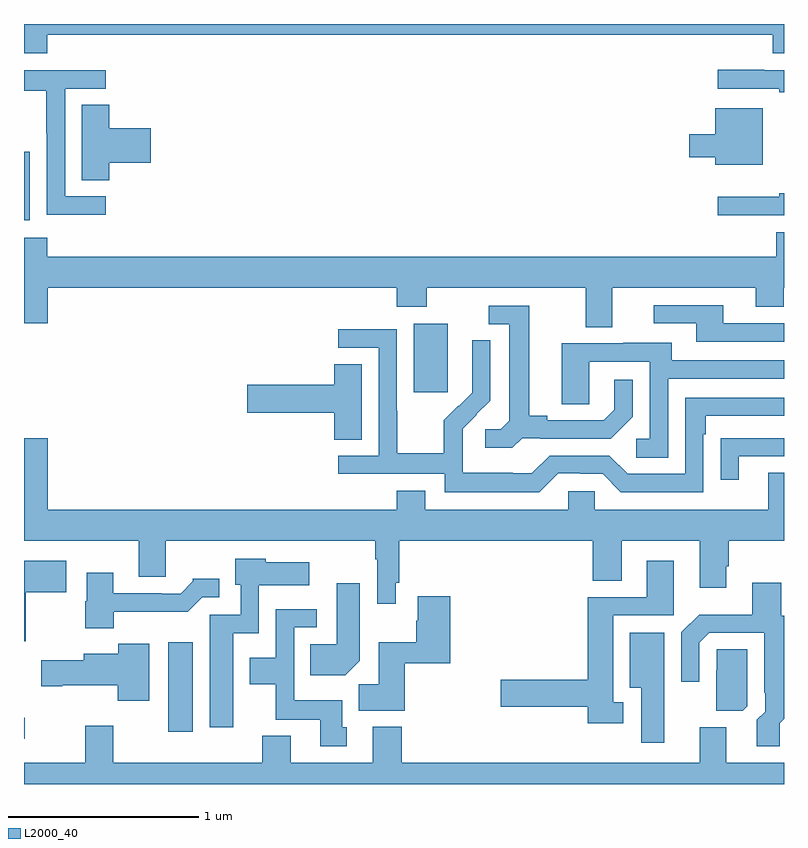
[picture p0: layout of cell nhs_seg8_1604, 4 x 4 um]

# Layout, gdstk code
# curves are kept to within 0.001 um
import gdstk
lib = gdstk.Library(unit=1e-6, precision=1e-09)
def R(c, l, rs):  # rectangles x0, y0, x1, y1
    for r in rs: c.add(gdstk.rectangle(r[:2], r[2:], *l))
def P(c, l, *ps):  # polygons
    for p in ps: c.add(gdstk.Polygon(p, *l))
L2000_40 = (2000, 40)

nhs_seg8_1604 = lib.new_cell('nhs_seg8_1604')
R(nhs_seg8_1604, L2000_40, [(213,1102.137,213.005,1102.249), (213.758,1102.176,213.889,1102.645), (215.051,1103.961,215.23,1104.322), (213,1104.866,213.031,1105.227)])
P(nhs_seg8_1604, L2000_40, [(213.122,1105.844),(216.941,1105.844),(216.941,1105.746),(217,1105.746),(217,1105.9),(213,1105.9),(213,1105.745),(213.122,1105.745)],
  [(217,1105.656),(216.897,1105.656),(216.897,1105.658),(216.651,1105.658),(216.651,1105.56),(216.974,1105.56),(216.974,1105.54),(217,1105.54)],
  [(213.43,1104.993),(213.216,1104.993),(213.216,1105.56),(213.43,1105.56),(213.43,1105.656),(213,1105.656),(213,1105.548),(213.118,1105.548),(213.118,1105.324),(213.12,1105.324),(213.12,1104.895),(213.43,1104.895)],
  [(213.449,1105.169),(213.667,1105.169),(213.667,1105.352),(213.449,1105.352),(213.449,1105.475),(213.305,1105.475),(213.305,1105.078),(213.449,1105.078)],
  [(216.889,1105.456),(216.638,1105.456),(216.638,1105.321),(216.501,1105.321),(216.501,1105.199),(216.638,1105.199),(216.638,1105.16),(216.889,1105.16)],
  [(216.863,1104.894),(217,1104.894),(217,1105.01),(216.974,1105.01),(216.974,1104.991),(216.651,1104.991),(216.651,1104.893),(216.863,1104.893)],
  [(216.097,1104.512),(216.851,1104.512),(216.851,1104.413),(216.999,1104.413),(216.999,1104.512),(217,1104.512),(217,1104.805),(216.959,1104.805),(216.959,1104.676),(213.122,1104.676),(213.122,1104.775),(213,1104.775),(213,1104.324),(213.124,1104.324),(213.124,1104.512),(214.961,1104.512),(214.961,1104.413),(215.121,1104.413),(215.121,1104.512),(215.957,1104.512),(215.957,1104.304),(216.097,1104.304)],
  [(217,1104.324),(216.679,1104.324),(216.679,1104.42),(216.315,1104.42),(216.315,1104.324),(216.539,1104.324),(216.539,1104.228),(217,1104.228)],
  [(215.622,1103.721),(215.716,1103.721),(215.716,1103.718),(216.088,1103.718),(216.204,1103.834),(216.204,1104.028),(216.107,1104.028),(216.107,1103.871),(216.05,1103.814),(215.755,1103.814),(215.755,1103.837),(215.659,1103.837),(215.659,1104.417),(215.445,1104.417),(215.445,1104.321),(215.555,1104.321),(215.555,1103.813),(215.508,1103.766),(215.427,1103.766),(215.427,1103.669),(215.57,1103.669)],
  [(215.811,1103.535),(215.927,1103.535),(215.927,1103.532),(216.045,1103.532),(216.141,1103.436),(216.576,1103.436),(216.576,1103.741),(216.589,1103.741),(216.589,1103.838),(217,1103.838),(217,1103.934),(216.48,1103.934),(216.48,1103.532),(216.177,1103.532),(216.081,1103.628),(215.766,1103.628),(215.673,1103.535),(215.573,1103.535),(215.573,1103.539),(215.31,1103.539),(215.31,1103.673),(215.308,1103.673),(215.308,1103.77),(215.454,1103.918),(215.454,1104.236),(215.358,1104.236),(215.358,1104.082),(215.36,1104.082),(215.36,1103.96),(215.289,1103.889),(215.286,1103.892),(215.209,1103.815),(215.209,1103.641),(214.965,1103.641),(214.965,1103.864),(214.962,1103.864),(214.962,1104.294),(214.653,1104.294),(214.653,1104.195),(214.866,1104.195),(214.866,1103.628),(214.653,1103.628),(214.653,1103.532),(215.214,1103.532),(215.214,1103.435),(215.711,1103.435)],
  [(216.39,1104.033),(217,1104.033),(217,1104.129),(216.409,1104.129),(216.409,1104.223),(216.155,1104.223),(216.155,1104.219),(215.831,1104.219),(215.831,1103.899),(215.976,1103.899),(215.976,1104.123),(216.294,1104.123),(216.294,1103.718),(216.222,1103.718),(216.222,1103.617),(216.39,1103.617)],
  [(214.777,1104.11),(214.634,1104.11),(214.634,1104.002),(214.176,1104.002),(214.176,1103.855),(214.634,1103.855),(214.634,1103.713),(214.777,1103.713)],
  [(216.763,1103.625),(217,1103.625),(217,1103.721),(216.769,1103.721),(216.769,1103.72),(216.667,1103.72),(216.667,1103.502),(216.763,1103.502)],
  [(214.956,1102.96),(214.976,1102.96),(214.976,1103.18),(215.993,1103.18),(215.993,1102.969),(216.145,1102.969),(216.145,1103.18),(216.557,1103.18),(216.557,1102.932),(216.697,1102.932),(216.697,1103.047),(216.71,1103.047),(216.71,1103.18),(217,1103.18),(217,1103.539),(216.917,1103.539),(216.917,1103.344),(216.003,1103.344),(216.003,1103.442),(215.865,1103.442),(215.865,1103.344),(215.113,1103.344),(215.113,1103.443),(214.961,1103.443),(214.961,1103.344),(213.124,1103.344),(213.124,1103.719),(213,1103.719),(213,1103.18),(213.605,1103.18),(213.605,1102.99),(213.745,1102.99),(213.745,1103.18),(214.848,1103.18),(214.848,1103.084),(214.86,1103.084),(214.86,1102.848),(214.956,1102.848)],
  [(214.102,1102.694),(214.236,1102.694),(214.236,1102.946),(214.501,1102.946),(214.501,1103.068),(214.272,1103.068),(214.272,1103.086),(214.112,1103.086),(214.112,1102.95),(214.14,1102.95),(214.14,1102.791),(213.977,1102.791),(213.977,1102.2),(214.102,1102.2)],
  [(213.01,1102.909),(213.223,1102.909),(213.223,1103.074),(213,1103.074),(213,1102.652),(213.01,1102.652)],
  [(216.154,1102.33),(216.1,1102.33),(216.1,1102.788),(216.421,1102.788),(216.421,1103.074),(216.278,1103.074),(216.278,1102.884),(215.966,1102.884),(215.966,1102.448),(215.508,1102.448),(215.508,1102.306),(215.966,1102.306),(215.966,1102.22),(216.154,1102.22)],
  [(213.472,1102.806),(213.861,1102.806),(213.939,1102.884),(214.027,1102.884),(214.027,1102.981),(213.888,1102.981),(213.888,1102.966),(213.824,1102.902),(213.725,1102.902),(213.725,1102.905),(213.469,1102.905),(213.469,1103.011),(213.329,1103.011),(213.329,1102.863),(213.322,1102.863),(213.322,1102.721),(213.472,1102.721)],
  [(216.977,1102.221),(217,1102.244),(217,1102.785),(216.986,1102.785),(216.986,1102.96),(216.833,1102.96),(216.833,1102.792),(216.553,1102.792),(216.459,1102.698),(216.459,1102.437),(216.555,1102.437),(216.555,1102.644),(216.606,1102.695),(216.897,1102.695),(216.897,1102.381),(216.9,1102.381),(216.9,1102.281),(216.857,1102.238),(216.857,1102.098),(216.977,1102.098)],
  [(214.768,1102.55),(214.768,1102.957),(214.646,1102.957),(214.646,1102.636),(214.507,1102.636),(214.507,1102.472),(214.69,1102.472)],
  [(215.003,1102.535),(215.243,1102.535),(215.243,1102.888),(215.072,1102.888),(215.072,1102.76),(215.065,1102.76),(215.065,1102.645),(214.868,1102.645),(214.868,1102.424),(214.763,1102.424),(214.763,1102.286),(215.003,1102.286)],
  [(214.699,1102.2),(214.675,1102.2),(214.675,1102.342),(214.422,1102.342),(214.422,1102.725),(214.54,1102.725),(214.54,1102.821),(214.326,1102.821),(214.326,1102.564),(214.187,1102.564),(214.187,1102.424),(214.324,1102.424),(214.324,1102.238),(214.559,1102.238),(214.559,1102.098),(214.699,1102.098)],
  [(216.37,1102.696),(216.188,1102.696),(216.188,1102.406),(216.248,1102.406),(216.248,1102.116),(216.37,1102.116)],
  [(213.658,1102.639),(213.496,1102.639),(213.496,1102.585),(213.314,1102.585),(213.314,1102.551),(213.09,1102.551),(213.09,1102.414),(213.202,1102.414),(213.202,1102.421),(213.494,1102.421),(213.494,1102.338),(213.658,1102.338)],
  [(216.807,1102.308),(216.807,1102.61),(216.645,1102.61),(216.645,1102.499),(216.644,1102.499),(216.644,1102.285),(216.783,1102.285)],
  [(217,1102.012),(216.697,1102.012),(216.697,1102.2),(216.557,1102.2),(216.557,1102.012),(214.988,1102.012),(214.988,1102.201),(214.835,1102.201),(214.835,1102.012),(214.405,1102.012),(214.405,1102.153),(214.253,1102.153),(214.253,1102.012),(213.469,1102.012),(213.469,1102.207),(213.322,1102.207),(213.322,1102.012),(213,1102.012),(213,1101.9),(217,1101.9)])

lib.write_gds('nhs_seg8_1604.gds')
